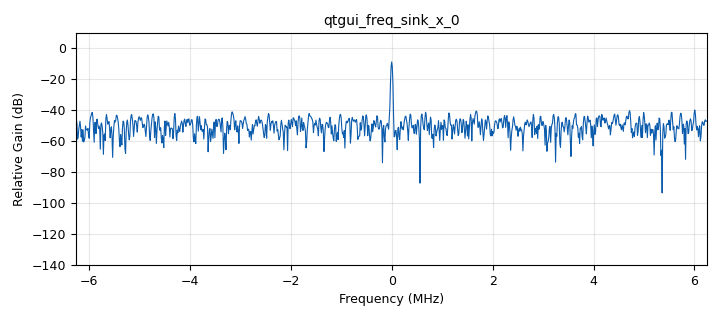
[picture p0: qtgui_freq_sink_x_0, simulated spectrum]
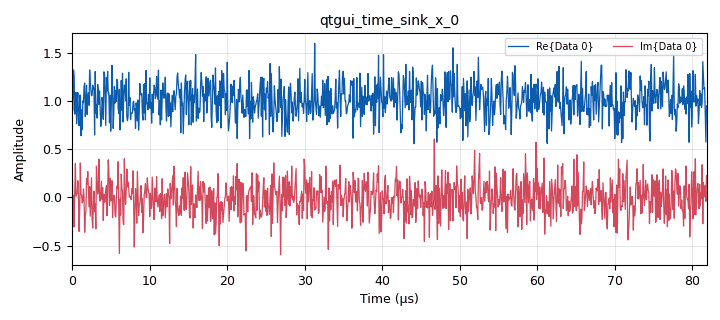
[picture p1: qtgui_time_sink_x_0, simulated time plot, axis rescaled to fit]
options:
  parameters:
    author: Subgrupo04_J1B
    generate_options: qt_gui
    id: Practica1_labComu2_GJ1B_04
    output_language: python
    title: Practica Ancho de Banda
  states: {}

blocks:
- name: GTX
  id: variable_qtgui_range
  parameters:
    label: Ganancia TX
    start: '0'
    step: '1'
    stop: '100'
    value: '50'
  states: {}
- name: 'NO'
  id: variable_qtgui_range
  parameters:
    label: Amplitud Ruido
    start: '1e-6'
    step: '1e-6'
    stop: '500e-3'
    value: '250e-3'
  states: {}
- name: fc
  id: variable_qtgui_range
  parameters:
    label: Frecuencia portadora
    start: 50e6
    step: 1e6
    stop: 2.2e9
    value: 100e6
  states: {}
- name: samp_rate
  id: variable
  parameters:
    value: 12.5e6
  states: {}
- name: analog_noise_source_x_0
  id: analog_noise_source_x
  parameters:
    amp: 'NO'
    noise_type: analog.GR_GAUSSIAN
    seed: '0'
    type: complex
  states: {}
- name: analog_sig_source_x_0
  id: analog_sig_source_x
  parameters:
    amp: '1'
    freq: samp_rate
    offset: '0'
    phase: '0'
    samp_rate: samp_rate
    type: complex
    waveform: analog.GR_COS_WAVE
  states: {}
- name: blocks_add_xx_0
  id: blocks_add_xx
  parameters:
    type: complex
  states: {}
- name: blocks_throttle_0
  id: blocks_throttle
  parameters:
    samples_per_second: samp_rate
    type: complex
  states: {}
- name: qtgui_freq_sink_x_0
  id: qtgui_freq_sink_x
  parameters:
    bw: samp_rate
    fc: '0'
    fftsize: '1024'
    type: complex
  states: {}
- name: qtgui_time_sink_x_0
  id: qtgui_time_sink_x
  parameters:
    size: '1024'
    srate: samp_rate
    type: complex
  states: {}
- name: uhd_usrp_sink_0
  id: uhd_usrp_sink
  parameters:
    ant0: '"TX/RX"'
    center_freq0: fc
    gain0: GTX
    samp_rate: samp_rate
    sync: pc_clock
    type: fc32
  states: {}

connections:
- [analog_noise_source_x_0, '0', blocks_add_xx_0, '0']
- [analog_sig_source_x_0, '0', blocks_add_xx_0, '1']
- [blocks_add_xx_0, '0', blocks_throttle_0, '0']
- [blocks_throttle_0, '0', qtgui_freq_sink_x_0, '0']
- [blocks_throttle_0, '0', qtgui_time_sink_x_0, '0']
- [blocks_throttle_0, '0', uhd_usrp_sink_0, '0']

metadata:
  file_format: 1
